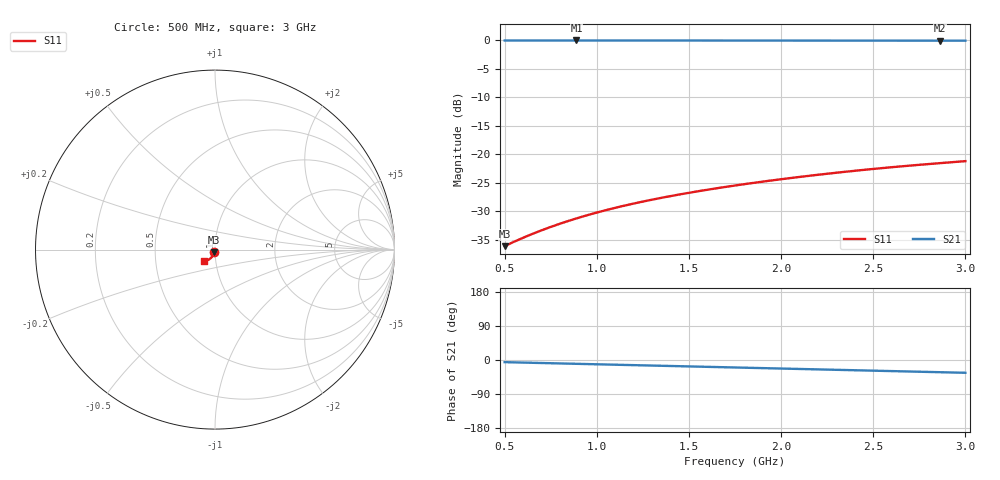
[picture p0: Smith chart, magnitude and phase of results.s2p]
! rfsim (KiCad + openEMS)
# HZ S RI R 50
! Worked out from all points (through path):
!   251 points, 500 MHz to 3 GHz, reference 50 ohm
!   highest |S21| = -0.04 dB at 890 MHz (marker M1); lowest = -0.1 dB at 2.86 GHz (marker M2)
!   group delay of S21, straight-line fit = 31.3 ps
!   lowest |S11| = -36.1 dB at 500 MHz (marker M3), VSWR 1.03, Z = 49.5 - j1.48 ohm
!   |S11| at or under -10 dB: start of sweep to end of sweep
!   S12 and S22 are empty: the file has one direction only
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5e8  -0.00481 -0.0149  0.9897 -0.0984  0 0  0 0
5.4e8  -0.00503 -0.016  0.9891 -0.1059  0 0  0 0
5.9e8  -0.00535 -0.0175  0.9882 -0.1154  0 0  0 0
6.4e8  -0.0057 -0.0189  0.9873 -0.125  0 0  0 0
6.9e8  -0.00609 -0.0204  0.9862 -0.1346  0 0  0 0
7.9e8  -0.00702 -0.0233  0.9836 -0.1541  0 0  0 0
8.9e8  -0.00815 -0.0262  0.9805 -0.1736  0 0  0 0
9.2e8  -0.00852 -0.0271  0.9794 -0.1794  0 0  0 0
1.02e9  -0.00989 -0.0299  0.9756 -0.1988  0 0  0 0
1.12e9  -0.0114 -0.0327  0.9712 -0.2181  0 0  0 0
1.23e9  -0.0132 -0.0356  0.966 -0.239  0 0  0 0
1.34e9  -0.0152 -0.0384  0.9603 -0.2598  0 0  0 0
1.43e9  -0.017 -0.0406  0.9553 -0.2767  0 0  0 0
1.53e9  -0.019 -0.0429  0.9495 -0.2953  0 0  0 0
1.64e9  -0.0213 -0.0454  0.9427 -0.3156  0 0  0 0
1.75e9  -0.0238 -0.0477  0.9356 -0.3358  0 0  0 0
1.95e9  -0.0286 -0.0517  0.9214 -0.3722  0 0  0 0
2.17e9  -0.0343 -0.0556  0.904 -0.4116  0 0  0 0
2.38e9  -0.0403 -0.0588  0.8855 -0.4485  0 0  0 0
2.59e9  -0.0466 -0.0612  0.8656 -0.4841  0 0  0 0
2.86e9  -0.0548 -0.0633  0.8385 -0.5281  0 0  0 0
3e9  -0.0591 -0.0641  0.8241 -0.5509  0 0  0 0
